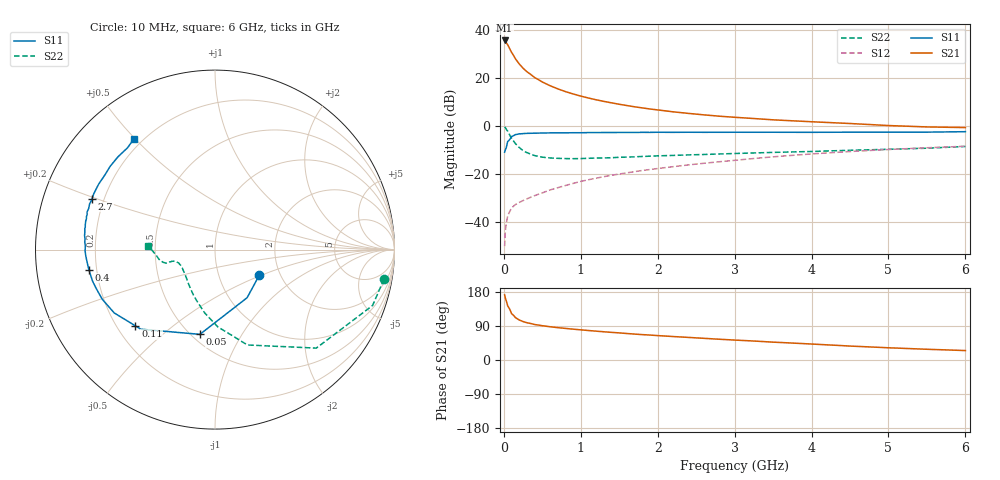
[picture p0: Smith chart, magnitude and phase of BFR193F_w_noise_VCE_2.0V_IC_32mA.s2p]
! Infineon Technologies  Discrete & RF Semiconductors
! BFR193F
! VCE =  2.0 V,  IC =  32 mA
! Common Emitter S-Parameters:  Jan 2017
# GHz  S  MA  R  50
!  f  S11  S21  S12  S22
! GHz  MAG  ANG  MAG  ANG  MAG  ANG  MAG  ANG
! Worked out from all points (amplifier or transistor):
!   77 points, 10 MHz to 6 GHz, reference 50 ohm
!   highest |S21| = 35.8 dB at 10 MHz (marker M1)
!   |S21| within 3 dB of that: start of sweep to 69.39 MHz
!   unconditionally stable (mu >= 1): 959.6 MHz to 2.797 GHz
!   at 130 MHz: K = 0.41, MSG = 31.3 dB, |S12| = -33.4 dB
!   at 2.2 GHz: K = 1.02, MAG = 10.5 dB, |S12| = -17.0 dB
!   at 6 GHz: K = 0.89, MSG = 3.9 dB, |S12| = -8.4 dB
!   lowest NFmin = 1.21 dB at 450 MHz
!   S11 on the Smith chart (normalised r, x): 10 MHz: 1.57, -0.48; 50 MHz: 0.55, -0.68; 110 MHz: 0.28, -0.38; 400 MHz: 0.17, -0.08; 2.7 GHz: 0.15, +0.19; 6 GHz: 0.17, +0.49
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0.01  0.2852 -29.8  61.49 171.8  0.0031 81.1  0.9558 -9.9
0.02  0.3223 -56.3  59.71 163.1  0.0066 69.5  0.9317 -19.5
0.05  0.4796 -100.1  50.04 142.8  0.0132 63.1  0.7872 -44.2
0.1  0.6062 -133.0  34.78 122.4  0.0194 51.3  0.5613 -71.2
0.11  0.6141 -136.2  32.86 120.8  0.0201 50.6  0.5322 -73.9
0.15  0.6633 -147.9  25.54 112.0  0.0229 48.1  0.4309 -87.9
0.2  0.6863 -156.2  19.89 105.6  0.0254 48.0  0.3572 -99.3
0.25  0.6967 -162.0  16.17 101.4  0.0278 49.6  0.3067 -108.7
0.3  0.7048 -165.8  13.66 98.3  0.0302 52.3  0.2789 -115.8
0.4  0.7116 -171.0  10.35 93.6  0.0352 56.2  0.2424 -127.2
0.5  0.7162 -174.5  8.337 90.5  0.0402 59.9  0.2244 -135.3
0.6  0.7207 -177.2  6.987 87.7  0.0463 62.4  0.2156 -141.4
0.7  0.724 -179.5  6.007 85.4  0.0515 64.2  0.212 -146.0
0.9  0.7269 176.7  4.692 81.4  0.0634 67.5  0.2086 -152.9
1.1  0.7311 173.8  3.855 77.8  0.0757 69.0  0.2124 -157.0
1.5  0.7361 169.0  2.858 71.5  0.0996 70.7  0.2228 -161.8
2.1  0.7415 162.8  2.08 63.2  0.1358 70.7  0.2413 -164.5
2.7  0.7416 157.5  1.663 56.0  0.1733 70.0  0.2582 -164.7
3.1  0.7433 154.1  1.491 51.6  0.1995 69.0  0.2701 -164.3
4.1  0.7417 145.0  1.211 41.1  0.2681 64.7  0.2984 -166.5
5.1  0.7474 135.0  1.013 31.5  0.3296 58.8  0.3309 -174.8
6  0.764 126.4  0.931 24.9  0.379 53.4  0.3748 176.6
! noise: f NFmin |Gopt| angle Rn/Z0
0.45  1.21  0.4  177  0.06
0.9  1.3  0.43  177  0.07
1.9  1.86  0.58  -167  0.07
2.4  2.15  0.61  -158  0.12
